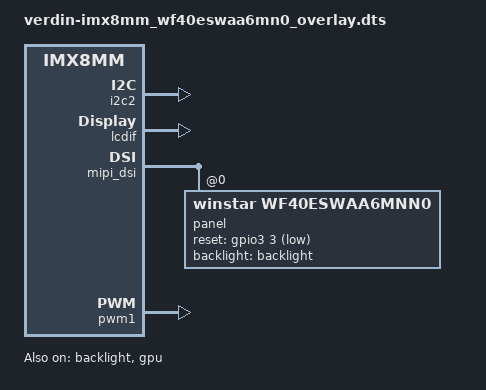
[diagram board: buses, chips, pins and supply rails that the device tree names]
/dts-v1/;
/plugin/;

#include <dt-bindings/gpio/gpio.h>

/ {
	compatible = "toradex,verdin-imx8mm";
};

&backlight {
	pwms = <&pwm1 0 6666667 0>;
	status = "okay";
};

&gpu {
	status = "okay";
};

/* Verdin I2C_2_DSI */
&i2c2 {
	pinctrl-names = "default";
	pinctrl-0 = <&pinctrl_i2c2>;
	status = "okay";
};

&lcdif {
	status = "okay";
};

&mipi_dsi {
	#address-cells = <1>;
	#size-cells = <0>;
	status = "okay";

	panel@0 {
		compatible = "winstar,wf40eswaa6mnn0";
		reg = <0>;
		backlight = <&backlight>;
		pinctrl-names = "default";
		pinctrl-0 = <&pinctrl_gpio_10_dsi>;
		reset-gpios = <&gpio3 3 GPIO_ACTIVE_LOW>;
		wait-until-enabled;
		status = "okay";
	};
};

/* Verdin PWM_3_DSI */
&pwm1 {
	status = "okay";
};
